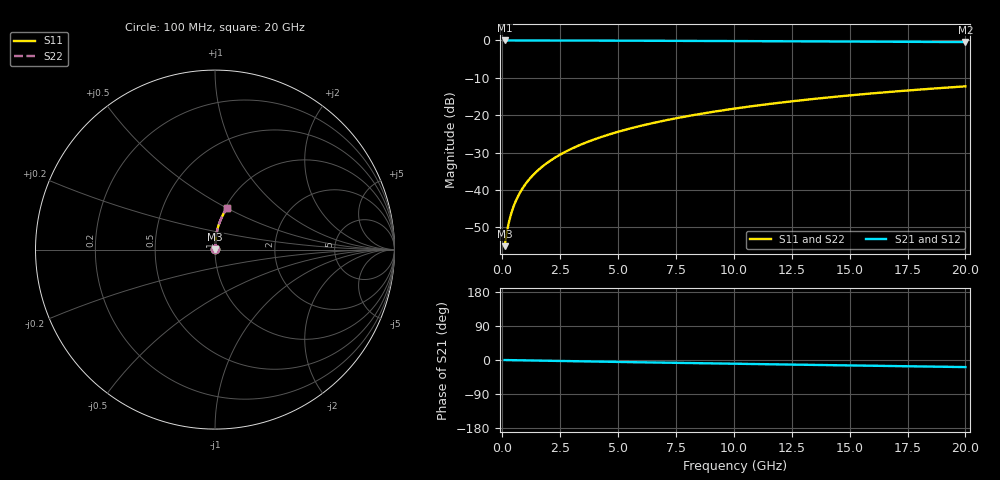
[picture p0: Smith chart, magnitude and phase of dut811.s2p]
! Touchstone file exported from HFSS 2024.1.0
!  File:  C:/UserFiles/LocalFiles/RDL_TSV_Batchsim/temp_RDL_bottom_811_1779862346.aedt
!  Generated:  02:15:02 PM May 27, 2026
!  Design:  RDL_bottom
!  Project:  temp_RDL_bottom_811_1779862346
!  Setup:  Setup1
!  Solution:  Sweep
! Variables:
!  dtsv = 10.80580581um
!  hbump = 3um
!  htsv = 51.11um
!  ldown = 193.64um
!  lrdl = 100um
!  p = 40
!  p1 = 57.53um
!  rhole = 1um
!  t = 450um
!  tdown = 3.93um
!  trdl = 3.915915916um
!  wdown = 15.56um
!  wrdl = 20um
# GHz S MA R 50.000000
! Terminal data exported
! Port[1] = RDL1_T1
! Port[2] = RDL1_T2
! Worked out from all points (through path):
!   200 points, 100 MHz to 20 GHz, reference 50 ohm
!   highest |S21| = -0.01 dB at 100 MHz (marker M1); lowest = -0.4 dB at 20 GHz (marker M2)
!   group delay of S21, straight-line fit = 2.58 ps
!   lowest |S11| = -55.0 dB at 100 MHz (marker M3), VSWR 1.00, Z = 50.1 + j0.123 ohm
!   |S11| at or under -10 dB: start of sweep to end of sweep
!   |S22| runs from -55.0 to -12.3 dB; largest |S21 - S12| = 2.1e-15
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0.1  0.001774 43.9  0.9987 -0.1  0.9987 -0.1  0.001774 43.9
! Gamma 0 0 0 0
! Port Impedance 50 0 50 0
0.2  0.002773 61.8  0.9987 -0.2  0.9987 -0.2  0.002773 61.8
0.3  0.003884 69.7  0.9986 -0.3  0.9986 -0.3  0.003884 69.7
0.4  0.005023 74.0  0.9986 -0.4  0.9986 -0.4  0.005023 74.0
0.5  0.006171 76.7  0.9985 -0.5  0.9985 -0.5  0.006171 76.7
0.6  0.007326 78.6  0.9985 -0.6  0.9985 -0.6  0.007326 78.6
0.8  0.009648 81.1  0.9984 -0.8  0.9984 -0.8  0.009648 81.1
1.1  0.01315 83.2  0.9982 -1.2  0.9982 -1.2  0.01315 83.2
1.5  0.01786 84.6  0.9979 -1.6  0.9979 -1.6  0.01786 84.6
1.8  0.02141 85.3  0.9976 -1.9  0.9976 -1.9  0.02141 85.3
2.1  0.02497 85.7  0.9973 -2.2  0.9973 -2.2  0.02497 85.7
2.7  0.03212 86.1  0.9966 -2.8  0.9966 -2.8  0.03212 86.1
3.5  0.04174 86.3  0.9953 -3.6  0.9953 -3.6  0.04174 86.3
4.2  0.05022 86.2  0.9941 -4.3  0.9941 -4.3  0.05022 86.2
5  0.06 86.0  0.9925 -5.1  0.9925 -5.1  0.06 86.0
5.9  0.07108 85.6  0.9905 -6.0  0.9905 -6.0  0.07108 85.6
6.8  0.08224 85.0  0.9884 -6.8  0.9884 -6.8  0.08224 85.0
8.3  0.1009 84.0  0.9847 -8.3  0.9847 -8.3  0.1009 84.0
10.1  0.1235 82.5  0.98 -9.9  0.98 -9.9  0.1234 82.5
13.4  0.1644 79.6  0.9707 -12.9  0.9707 -12.9  0.1644 79.6
16.7  0.2045 76.6  0.9607 -15.8  0.9607 -15.8  0.2045 76.6
20  0.2433 73.6  0.9498 -18.7  0.9498 -18.7  0.2433 73.6
